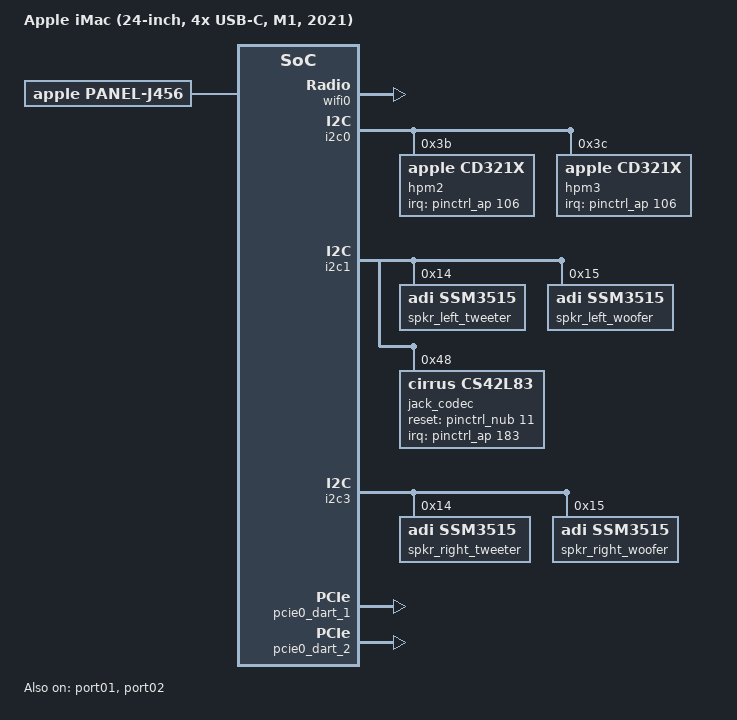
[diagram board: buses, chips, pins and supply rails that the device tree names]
// SPDX-License-Identifier: GPL-2.0+ OR MIT
/*
 * Apple iMac (24-inch, 4x USB-C, M1, 2020)
 *
 * target-type: J456
 *
 * Copyright The Asahi Linux Contributors
 */

/dts-v1/;

#include "t8103.dtsi"
#include "t8103-jxxx.dtsi"

/ {
	compatible = "apple,j456", "apple,t8103", "apple,arm-platform";
	model = "Apple iMac (24-inch, 4x USB-C, M1, 2021)";

	aliases {
		ethernet0 = &ethernet0;
	};
};

&dcp {
	panel: panel {
		compatible = "apple,panel-j456", "apple,panel";
		width-mm = <522>;
		height-mm = <294>;
		apple,max-brightness = <525>;
	};
};

&bluetooth0 {
	brcm,board-type = "apple,capri";
};

&wifi0 {
	brcm,board-type = "apple,capri";
};

&i2c0 {
	hpm2: usb-pd@3b {
		compatible = "apple,cd321x";
		reg = <0x3b>;
		interrupt-parent = <&pinctrl_ap>;
		interrupts = <106 IRQ_TYPE_LEVEL_LOW>;
		interrupt-names = "irq";
	};

	hpm3: usb-pd@3c {
		compatible = "apple,cd321x";
		reg = <0x3c>;
		interrupt-parent = <&pinctrl_ap>;
		interrupts = <106 IRQ_TYPE_LEVEL_LOW>;
		interrupt-names = "irq";
	};
};

&i2c1 {
	spkr_left_tweeter: codec@14 {
		compatible = "adi,ssm3515";
		reg = <0x14>;
		#sound-dai-cells = <0>;
		adi,ana-gain = <0>;
		sound-name-prefix = "Left Tweeter";
	};

	spkr_left_woofer: codec@15 {
		compatible = "adi,ssm3515";
		reg = <0x15>;
		#sound-dai-cells = <0>;
		adi,ana-gain = <0>;
		sound-name-prefix = "Left Woofer";
	};
};

&i2c3 {
	spkr_right_tweeter: codec@14 {
		compatible = "adi,ssm3515";
		reg = <0x14>;
		#sound-dai-cells = <0>;
		adi,ana-gain = <0>;
		sound-name-prefix = "Right Tweeter";
	};

	spkr_right_woofer: codec@15 {
		compatible = "adi,ssm3515";
		reg = <0x15>;
		#sound-dai-cells = <0>;
		adi,ana-gain = <0>;
		sound-name-prefix = "Right Woofer";
	};
};

/*
 * Provide labels for the USB type C ports.
 */

&typec0 {
	label = "USB-C Back-right";
};

&typec1 {
	label = "USB-C Back-right-middle";
};

/*
 * Force the bus number assignments so that we can declare some of the
 * on-board devices and properties that are populated by the bootloader
 * (such as MAC addresses).
 */

&port01 {
	bus-range = <2 2>;
	status = "okay";
};

&port02 {
	bus-range = <3 3>;
	status = "okay";
	ethernet0: ethernet@0,0 {
		reg = <0x30000 0x0 0x0 0x0 0x0>;
		/* To be filled by the loader */
		local-mac-address = [00 10 18 00 00 00];
	};
};

&pcie0_dart_1 {
	status = "okay";
};

&pcie0_dart_2 {
	status = "okay";
};

&i2c1 {
	jack_codec: codec@48 {
		compatible = "cirrus,cs42l83";
		reg = <0x48>;
		reset-gpios = <&pinctrl_nub 11 GPIO_ACTIVE_HIGH>;
		interrupt-parent = <&pinctrl_ap>;
		interrupts = <183 IRQ_TYPE_LEVEL_LOW>;
		#sound-dai-cells = <0>;
		cirrus,ts-inv = <1>;
		sound-name-prefix = "Jack";
	};
};

/ {
	sound {
		compatible = "apple,j456-macaudio", "apple,macaudio";
		model = "iMac J456";

		dai-link@0 {
			link-name = "Speakers";
			/*
			 * DANGER ZONE: You can blow your speakers!
			 *
			 * The drivers are not ready, and unless you are careful
			 * to attenuate the audio stream, you run the risk of
			 * blowing your speakers.
			 */
			status = "disabled";

			cpu {
				sound-dai = <&mca 0>, <&mca 1>;
			};
			codec {
				sound-dai = <&spkr_left_woofer>,
					    <&spkr_left_tweeter>,
					    <&spkr_right_woofer>,
					    <&spkr_right_tweeter>;
			};
		};

		dai-link@1 {
			link-name = "Headphone Jack";

			cpu {
				sound-dai = <&mca 2>;
			};
			codec {
				sound-dai = <&jack_codec>;
			};
		};
	};
};

&gpu {
	apple,perf-base-pstate = <3>;
};
